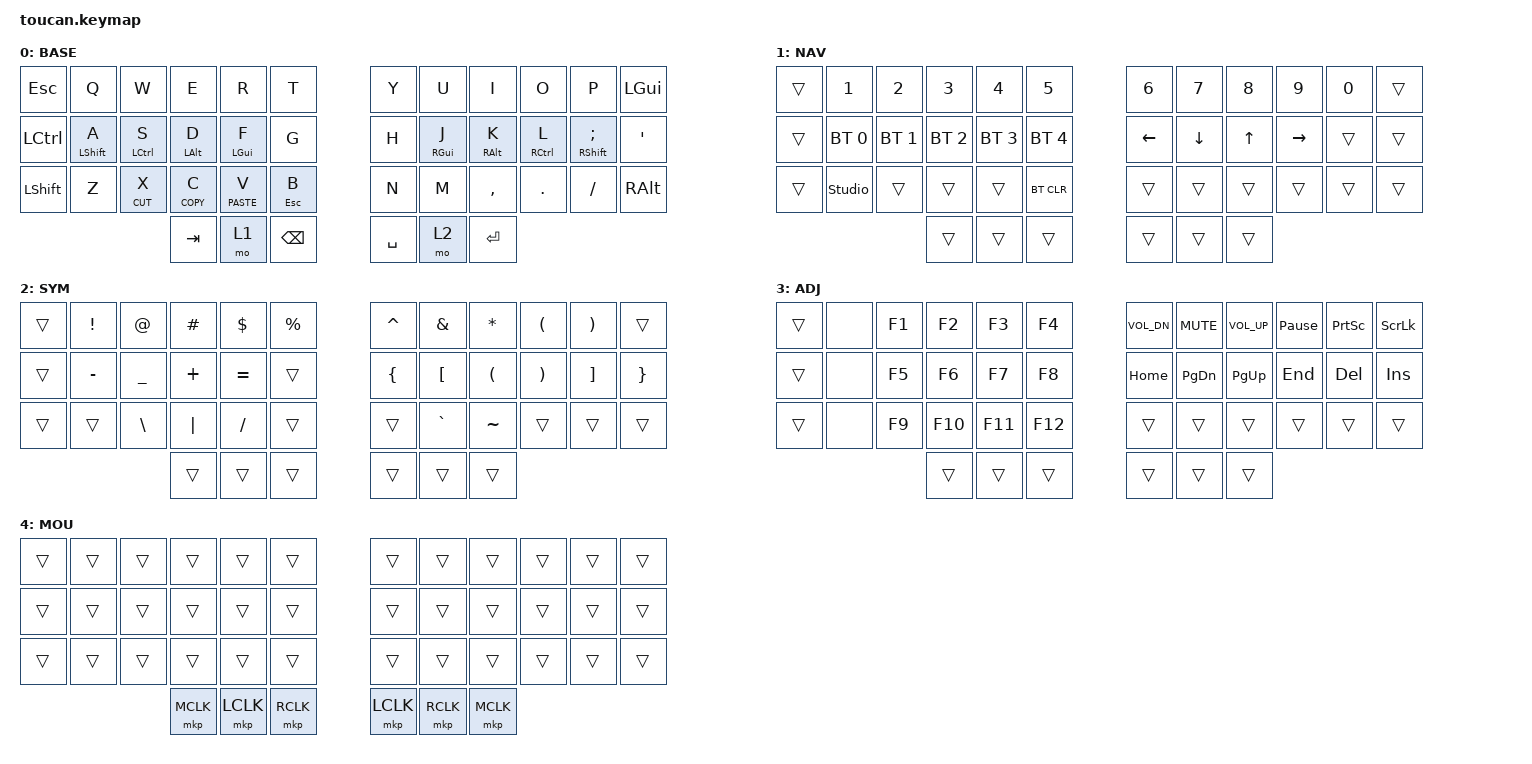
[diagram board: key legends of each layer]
#include <behaviors.dtsi>
#include <dt-bindings/zmk/keys.h>
#include <dt-bindings/zmk/bt.h>
#include <dt-bindings/zmk/outputs.h>
#include <dt-bindings/zmk/pointing.h>

#include "include/toucan_key_labels_42.h"
#define KEYS_L LT0 LT1 LT2 LT3 LT4 LT5 LM0 LM1 LM2 LM3 LM4 LM5 LB0 LB1 LB2 LB3 LB4 LB5 // Left-hand keys.
#define KEYS_R RT0 RT1 RT2 RT3 RT4 RT5 RM0 RM1 RM2 RM3 RM4 RM5 RB0 RB1 RB2 RB3 RB4 RB5 // Right-hand keys.
#define THUMBS LH2 LH1 LH0 RH0 RH1 RH2                                                 // Thumb keys.

#define BASE 0
#define NAV  1
#define SYM  2
#define ADJ  3

/ {
    behaviors {
        hml: home_row_mod_left {
            compatible = "zmk,behavior-hold-tap";
            #binding-cells = <2>;
            flavor = "balanced";
            tapping-term-ms = <280>;
            quick-tap-ms = <175>;
            require-prior-idle-ms = <150>;
            bindings = <&kp>, <&kp>;

            hold-trigger-key-positions = <KEYS_R THUMBS>;
            hold-trigger-on-release;
            display-name = "HomeRow Left";
        };

        hmr: home_row_mod_right {
            compatible = "zmk,behavior-hold-tap";
            #binding-cells = <2>;
            flavor = "balanced";
            tapping-term-ms = <280>;
            quick-tap-ms = <175>;
            require-prior-idle-ms = <150>;
            bindings = <&kp>, <&kp>;

            hold-trigger-key-positions = <KEYS_L THUMBS>;
            hold-trigger-on-release;
            display-name = "HomeRow Right";
        };

        mtt: mod_tap_tap_prio {
            compatible = "zmk,behavior-hold-tap";
            #binding-cells = <2>;
            flavor = "tap-preferred";
            tapping-term-ms = <200>;
            bindings = <&kp>, <&kp>;

            display-name = "Mod-Tap Tap-Prio";
        };
    };

    conditional_layers {
        compatible = "zmk,conditional-layers";
        tri_layer {
            if-layers = <1 2>;
            then-layer = <3>;
        };
    };

    keymap {
        compatible = "zmk,keymap";

        //      <----KEY---->  <----KEY----->  <----KEY---->  <----KEY---->  <----KEY----->  <----KEY----> ||||| <----KEY---->  <----KEY---->  <----KEY---->  <-----KEY----->  <-----KEY------>  <----KEY---->
        //                                                                                                 |||||
        base {
            display-name = "BASE";
            bindings = <
                &kp ESC        &kp Q           &kp W          &kp E          &kp R           &kp T               &kp Y          &kp U          &kp I          &kp O            &kp P             &kp LGUI
                &kp LCTRL      &hml LSHFT A    &hml LCTRL S   &hml LALT D    &hml LGUI F     &kp G               &kp H          &hmr RGUI J    &hmr RALT K    &hmr RCTRL L     &hmr RSHIFT SEMI  &kp SQT
                &kp LSHFT      &kp Z           &mtt K_CUT X   &mtt K_COPY C  &mtt K_PASTE V  &mtt ESC B          &kp N          &kp M          &kp COMMA      &kp DOT          &kp FSLH          &kp RALT
                                                              &kp TAB        &mo 1           &kp BSPC            &kp SPACE      &mo 2          &kp RET
            >;
        };

        nav {
            display-name = "NAV";
            bindings = <
                &trans         &kp N1          &kp N2         &kp N3         &kp N4          &kp N5              &kp N6         &kp N7         &kp N8         &kp N9           &kp N0            &trans
                &trans         &bt BT_SEL 0    &bt BT_SEL 1   &bt BT_SEL 2   &bt BT_SEL 3    &bt BT_SEL 4        &kp LEFT       &kp DOWN       &kp UP         &kp RIGHT        &trans            &trans
                &trans         &studio_unlock  &trans         &trans         &trans          &bt BT_CLR          &trans         &trans         &trans         &trans           &trans            &trans
                                                              &trans         &trans          &trans              &trans         &trans         &trans
            >;
        };

        sym {
            display-name = "SYM";
            bindings = <
                &trans         &kp EXCL        &kp AT         &kp HASH       &kp DLLR        &kp PRCNT           &kp CARET      &kp AMPS       &kp STAR       &kp LPAR         &kp RPAR          &trans
                &trans         &kp MINUS       &kp UNDER      &kp PLUS       &kp EQUAL       &trans              &kp LBRC       &kp LBKT       &kp LPAR       &kp RPAR         &kp RBKT          &kp RBRC
                &trans         &trans          &kp BSLH       &kp PIPE       &kp FSLH        &trans              &trans         &kp GRAVE      &kp TILDE      &trans           &trans            &trans
                                                              &trans         &trans          &trans              &trans         &trans         &trans
            >;
        };

        adj {
            display-name = "ADJ";
            bindings = <
                &trans         &none           &kp F1         &kp F2         &kp F3          &kp F4              &kp C_VOL_DN   &kp C_MUTE     &kp C_VOL_UP   &kp PAUSE_BREAK  &kp PSCRN         &kp SLCK
                &trans         &none           &kp F5         &kp F6         &kp F7          &kp F8              &kp HOME       &kp PG_DN      &kp PG_UP      &kp END          &kp DEL           &kp INS
                &trans         &none           &kp F9         &kp F10        &kp F11         &kp F12             &trans         &trans         &trans         &trans           &trans            &trans
                                                              &trans         &trans          &trans              &trans         &trans         &trans
            >;
        };

        mouse {
            display-name = "MOU";
            bindings = <
                &trans         &trans          &trans         &trans         &trans          &trans              &trans         &trans         &trans         &trans           &trans            &trans
                &trans         &trans          &trans         &trans         &trans          &trans              &trans         &trans         &trans         &trans           &trans            &trans
                &trans         &trans          &trans         &trans         &trans          &trans              &trans         &trans         &trans         &trans           &trans            &trans
                                                              &mkp MCLK      &mkp LCLK       &mkp RCLK           &mkp LCLK      &mkp RCLK      &mkp MCLK
            >;
        };

        extra_2 {
                status = "reserved";
        };

        extra_3 {
                status = "reserved";
        };
    };
};
